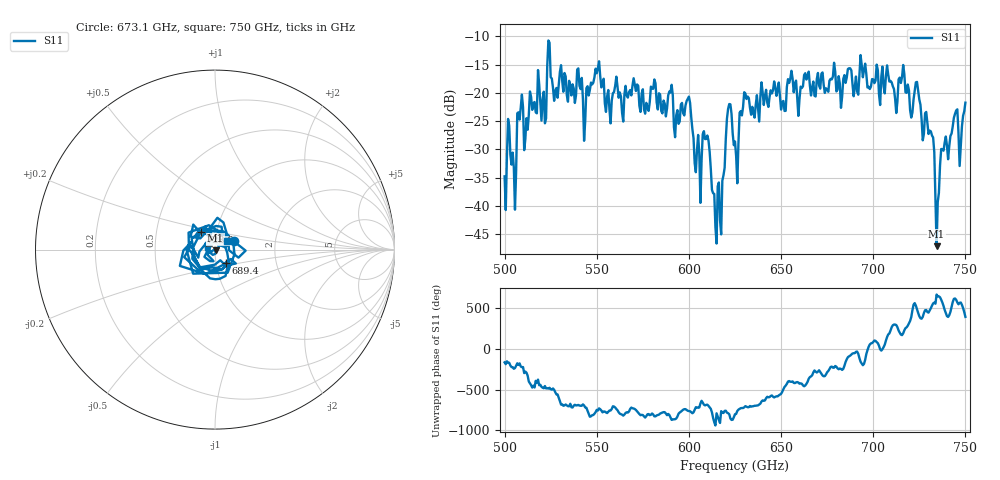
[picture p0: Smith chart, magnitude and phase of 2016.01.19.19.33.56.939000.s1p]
!Created with skrf (http://scikit-rf.org).
# GHz S RI R 50.0
!freq ReS11 ImS11
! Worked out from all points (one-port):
!   401 points, 500 GHz to 750 GHz, reference 50 ohm
!   lowest |S11| = -47.1 dB at 734.4 GHz (marker M1), VSWR 1.01, Z = 50.3 - j0.334 ohm
!   |S11| at or under -10 dB: start of sweep to end of sweep
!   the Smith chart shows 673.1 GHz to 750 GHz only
!   S11 on the Smith chart (normalised r, x): 673.1 GHz: 1.23, +0.12; 689.4 GHz: 1.11, -0.16; 723.8 GHz: 0.84, +0.16; 750 GHz: 1.14, +0.11
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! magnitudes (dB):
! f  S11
! 500 GHz  -34.8
! 502.5 GHz  -25.8
! 505 GHz  -33.2
! 508.1 GHz  -24.7
! 511.9 GHz  -24.5
! 521.2 GHz  -19.8
! 524.4 GHz  -11.1
! 531.2 GHz  -17.9
! 562.5 GHz  -19.9
! 590 GHz  -19.9
! 593.8 GHz  -23.1
! 599.4 GHz  -21.1
! 605 GHz  -27.4
! 609.4 GHz  -28.1
! 616.2 GHz  -35.8
! 621.9 GHz  -22.0
! 625 GHz  -28.6
! 631.2 GHz  -21.1
! 656.2 GHz  -17.5
! 673.1 GHz  -18.6
! 687.5 GHz  -15.7
! 689.4 GHz  -20.6
! 718.8 GHz  -18.5
! 723.8 GHz  -18.1
! 731.9 GHz  -27.5
! 734.4 GHz  -47.1
! 738.1 GHz  -30.2
! 750 GHz  -21.7
